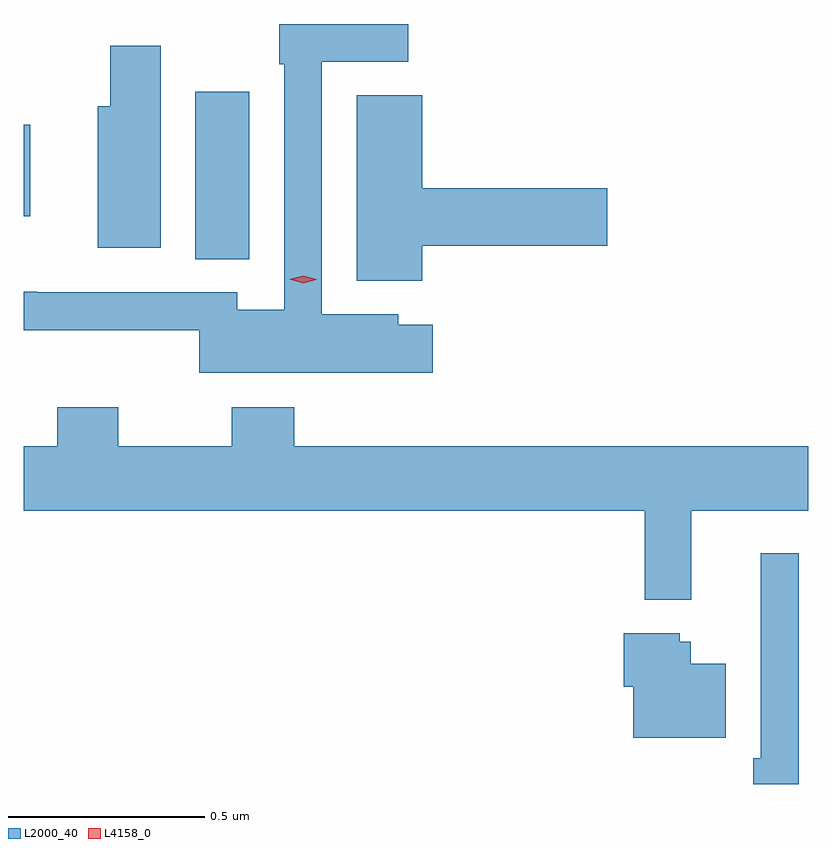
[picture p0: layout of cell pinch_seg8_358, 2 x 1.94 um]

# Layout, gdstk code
import gdstk
lib = gdstk.Library(unit=1e-6, precision=1e-09)
def R(c, l, rs):  # rectangles x0, y0, x1, y1
    for r in rs: c.add(gdstk.rectangle(r[:2], r[2:], *l))
def P(c, l, *ps):  # polygons
    for p in ps: c.add(gdstk.Polygon(p, *l))
L2000_40 = (2000, 40)
L4158_0 = (4158, 0)

pinch_seg8_358 = lib.new_cell('pinch_seg8_358')
R(pinch_seg8_358, L2000_40, [(455.06,1155.769,455.197,1156.195), (454.622,1155.878,454.639,1156.111)])
P(pinch_seg8_358, L2000_40, [(455.665,1155.601),(455.577,1155.601),(455.577,1155.628),(455.382,1155.628),(455.382,1156.272),(455.602,1156.272),(455.602,1156.368),(455.274,1156.368),(455.274,1156.265),(455.286,1156.265),(455.286,1155.64),(455.166,1155.64),(455.166,1155.684),(454.657,1155.684),(454.657,1155.686),(454.622,1155.686),(454.622,1155.587),(455.07,1155.587),(455.07,1155.479),(455.665,1155.479)],
  [(454.972,1156.312),(454.843,1156.312),(454.843,1156.159),(454.811,1156.159),(454.811,1155.798),(454.972,1155.798)],
  [(455.638,1155.803),(456.109,1155.803),(456.109,1155.95),(455.638,1155.95),(455.638,1156.187),(455.471,1156.187),(455.471,1155.713),(455.638,1155.713)],
  [(456.323,1155.128),(456.622,1155.128),(456.622,1155.292),(455.312,1155.292),(455.312,1155.391),(455.152,1155.391),(455.152,1155.292),(454.863,1155.292),(454.863,1155.391),(454.708,1155.391),(454.708,1155.292),(454.622,1155.292),(454.622,1155.128),(456.205,1155.128),(456.205,1154.9),(456.323,1154.9)],
  [(456.598,1155.019),(456.501,1155.019),(456.501,1154.497),(456.481,1154.497),(456.481,1154.431),(456.598,1154.431)],
  [(456.412,1154.737),(456.322,1154.737),(456.322,1154.793),(456.294,1154.793),(456.294,1154.815),(456.152,1154.815),(456.152,1154.679),(456.176,1154.679),(456.176,1154.549),(456.412,1154.549)])
P(pinch_seg8_358, L4158_0, [(455.334,1155.707),(455.299,1155.718),(455.299,1155.718),(455.299,1155.718),(455.334,1155.727),(455.368,1155.717),(455.369,1155.717),(455.368,1155.716)])

lib.write_gds('pinch_seg8_358.gds')
